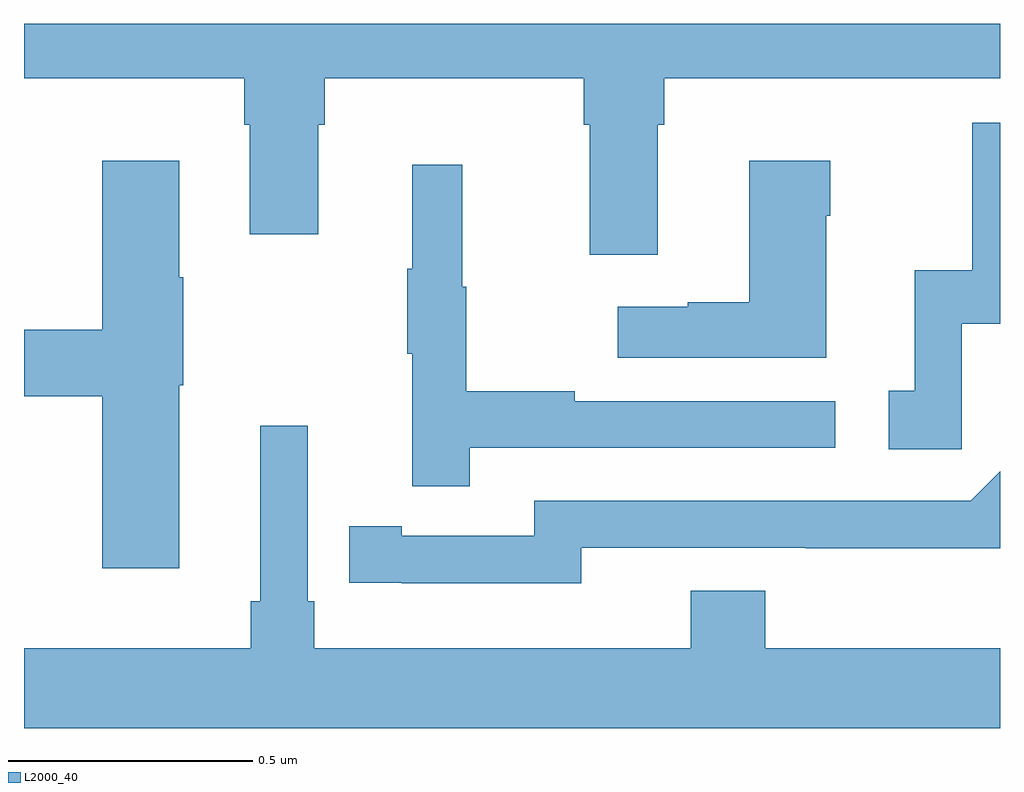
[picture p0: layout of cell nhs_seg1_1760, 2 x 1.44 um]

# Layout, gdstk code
import gdstk
lib = gdstk.Library(unit=1e-6, precision=1e-09)
def P(c, l, *ps):  # polygons
    for p in ps: c.add(gdstk.Polygon(p, *l))
L2000_40 = (2000, 40)

nhs_seg1_1760 = lib.new_cell('nhs_seg1_1760')
P(nhs_seg1_1760, L2000_40, [(134.299,528.992),(134.312,528.992),(134.312,529.088),(135,529.088),(135,529.199),(133,529.199),(133,529.088),(133.451,529.088),(133.451,528.992),(133.463,528.992),(133.463,528.768),(133.603,528.768),(133.603,528.992),(133.616,528.992),(133.616,529.088),(134.147,529.088),(134.147,528.992),(134.159,528.992),(134.159,528.726),(134.299,528.726)],
  [(134.922,528.585),(135,528.585),(135,528.996),(134.943,528.996),(134.943,528.694),(134.825,528.694),(134.825,528.447),(134.772,528.447),(134.772,528.327),(134.922,528.327)],
  [(133.318,528.459),(133.326,528.459),(133.326,528.68),(133.318,528.68),(133.318,528.919),(133.16,528.919),(133.16,528.572),(133,528.572),(133,528.436),(133.16,528.436),(133.16,528.084),(133.318,528.084)],
  [(134.644,528.806),(134.652,528.806),(134.652,528.919),(134.486,528.919),(134.486,528.629),(134.36,528.629),(134.36,528.619),(134.217,528.619),(134.217,528.515),(134.644,528.515)],
  [(133.913,528.33),(134.662,528.33),(134.662,528.426),(134.129,528.426),(134.129,528.446),(133.906,528.446),(133.906,528.66),(133.898,528.66),(133.898,528.91),(133.796,528.91),(133.796,528.697),(133.785,528.697),(133.785,528.523),(133.796,528.523),(133.796,528.252),(133.913,528.252)],
  [(135,527.92),(134.519,527.92),(134.519,528.037),(134.366,528.037),(134.366,527.92),(133.595,527.92),(133.595,528.016),(133.581,528.016),(133.581,528.376),(133.484,528.376),(133.484,528.016),(133.465,528.016),(133.465,527.92),(133,527.92),(133,527.756),(135,527.756)],
  [(134.142,528.126),(134.602,528.126),(134.602,528.125),(135,528.125),(135,528.282),(134.94,528.222),(134.046,528.222),(134.046,528.15),(133.774,528.15),(133.774,528.17),(133.666,528.17),(133.666,528.054),(133.774,528.054),(133.774,528.053),(134.142,528.053)])

lib.write_gds('nhs_seg1_1760.gds')
